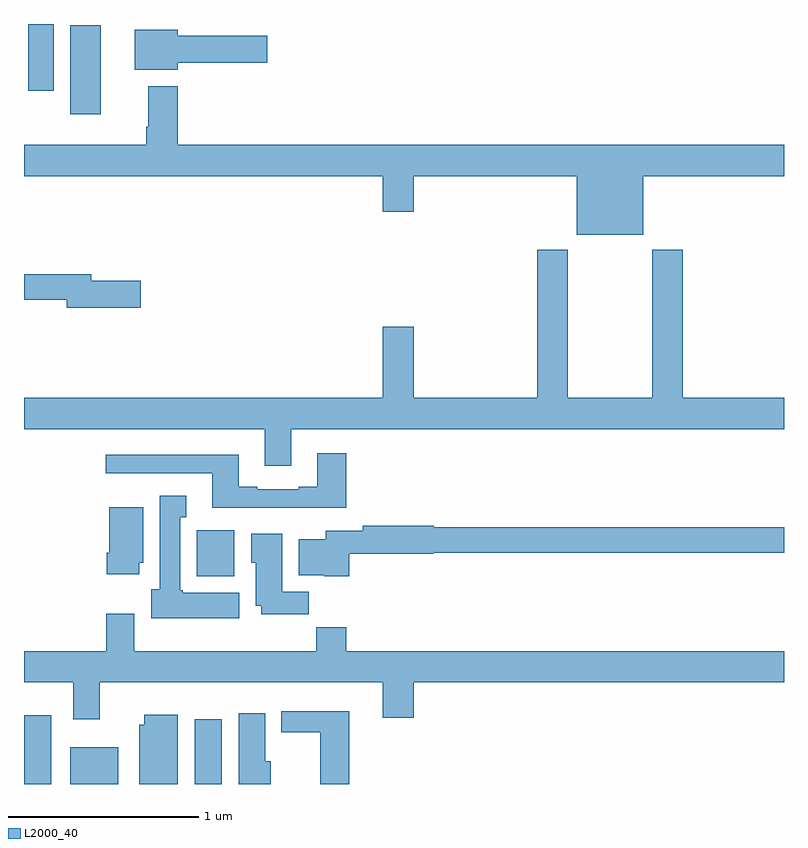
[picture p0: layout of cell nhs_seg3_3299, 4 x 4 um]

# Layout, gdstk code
import gdstk
lib = gdstk.Library(unit=1e-6, precision=1e-09)
def R(c, l, rs):  # rectangles x0, y0, x1, y1
    for r in rs: c.add(gdstk.rectangle(r[:2], r[2:], *l))
def P(c, l, *ps):  # polygons
    for p in ps: c.add(gdstk.Polygon(p, *l))
L2000_40 = (2000, 40)

nhs_seg3_3299 = lib.new_cell('nhs_seg3_3299')
R(nhs_seg3_3299, L2000_40, [(283,680.4,283.144,680.761), (283.244,680.4,283.495,680.593), (283.898,680.4,284.041,680.74), (283.91,681.494,284.107,681.736), (283.244,683.925,283.405,684.394), (283.022,684.048,283.156,684.4)])
P(nhs_seg3_3299, L2000_40, [(283.81,684.196),(284.281,684.196),(284.281,684.338),(283.81,684.338),(283.81,684.37),(283.583,684.37),(283.583,684.158),(283.81,684.158)],
  [(286.258,683.6),(287,683.6),(287,683.764),(283.808,683.764),(283.808,684.073),(283.655,684.073),(283.655,683.86),(283.643,683.86),(283.643,683.764),(283,683.764),(283,683.6),(284.888,683.6),(284.888,683.412),(285.052,683.412),(285.052,683.6),(285.908,683.6),(285.908,683.291),(286.258,683.291)],
  [(284.407,682.268),(287,682.268),(287,682.432),(286.466,682.432),(286.466,683.212),(286.306,683.212),(286.306,682.432),(285.861,682.432),(285.861,683.212),(285.701,683.212),(285.701,682.432),(285.052,682.432),(285.052,682.807),(284.888,682.807),(284.888,682.432),(283,682.432),(283,682.268),(284.267,682.268),(284.267,682.074),(284.407,682.074)],
  [(283.615,683.048),(283.354,683.048),(283.354,683.084),(283,683.084),(283,682.948),(283.226,682.948),(283.226,682.906),(283.615,682.906)],
  [(284.696,682.141),(284.543,682.141),(284.543,681.964),(284.447,681.964),(284.447,681.951),(284.227,681.951),(284.227,681.964),(284.131,681.964),(284.131,682.132),(283.431,682.132),(283.431,682.035),(283.991,682.035),(283.991,681.854),(284.696,681.854)],
  [(284.134,681.406),(283.836,681.406),(283.836,681.42),(283.822,681.42),(283.822,681.803),(283.855,681.803),(283.855,681.916),(283.715,681.916),(283.715,681.426),(283.67,681.426),(283.67,681.272),(284.134,681.272)],
  [(283.606,681.564),(283.627,681.564),(283.627,681.856),(283.448,681.856),(283.448,681.616),(283.436,681.616),(283.436,681.504),(283.606,681.504)],
  [(284.711,681.611),(285.156,681.611),(285.156,681.616),(287,681.616),(287,681.752),(285.156,681.752),(285.156,681.758),(284.784,681.758),(284.784,681.733),(284.588,681.733),(284.588,681.688),(284.447,681.688),(284.447,681.5),(284.58,681.5),(284.58,681.494),(284.711,681.494)],
  [(284.498,681.412),(284.359,681.412),(284.359,681.718),(284.195,681.718),(284.195,681.564),(284.219,681.564),(284.219,681.338),(284.249,681.338),(284.249,681.294),(284.498,681.294)],
  [(283.399,680.936),(284.888,680.936),(284.888,680.748),(285.052,680.748),(285.052,680.936),(287,680.936),(287,681.1),(284.696,681.1),(284.696,681.224),(284.539,681.224),(284.539,681.1),(283.579,681.1),(283.579,681.295),(283.432,681.295),(283.432,681.1),(283,681.1),(283,680.936),(283.259,680.936),(283.259,680.742),(283.399,680.742)],
  [(284.711,680.782),(284.355,680.782),(284.355,680.673),(284.56,680.673),(284.56,680.4),(284.711,680.4)],
  [(284.299,680.52),(284.269,680.52),(284.269,680.773),(284.129,680.773),(284.129,680.4),(284.299,680.4)],
  [(283.81,680.764),(283.634,680.764),(283.634,680.712),(283.607,680.712),(283.607,680.4),(283.81,680.4)])

lib.write_gds('nhs_seg3_3299.gds')
